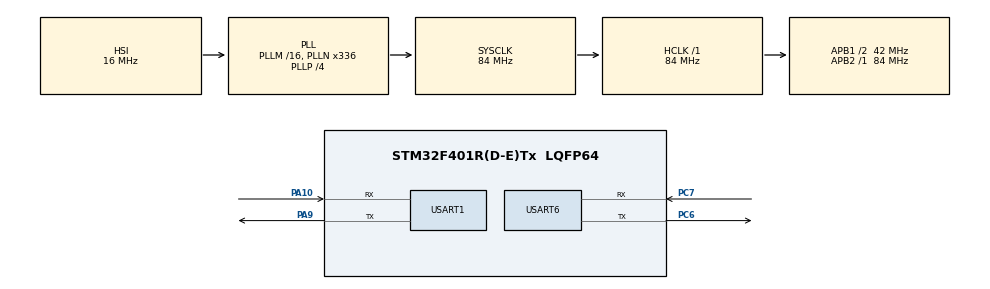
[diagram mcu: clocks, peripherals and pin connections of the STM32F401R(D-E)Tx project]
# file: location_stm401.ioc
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Mcu.Family=STM32F4
Mcu.Name=STM32F401R(D-E)Tx
Mcu.Package=LQFP64
NVIC.PriorityGroup=NVIC_PRIORITYGROUP_4
NVIC.USART1_IRQn=true\:0\:0\:false\:false\:true\:true\:true\:true
NVIC.USART6_IRQn=true\:0\:0\:false\:false\:true\:true\:true\:true
PA10.Mode=Asynchronous
PA10.Signal=USART1_RX
PA9.Mode=Asynchronous
PA9.Signal=USART1_TX
PC6.Mode=Asynchronous
PC6.Signal=USART6_TX
PC7.Mode=Asynchronous
PC7.Signal=USART6_RX
ProjectManager.HeapSize=0x200
ProjectManager.StackSize=0x400
ProjectManager.TargetToolchain=STM32CubeIDE
RCC.48MHZClocksFreq_Value=42000000
RCC.AHBFreq_Value=84000000
RCC.APB1CLKDivider=RCC_HCLK_DIV2
RCC.APB1Freq_Value=42000000
RCC.APB1TimFreq_Value=84000000
RCC.APB2Freq_Value=84000000
RCC.APB2TimFreq_Value=84000000
RCC.CortexFreq_Value=84000000
RCC.HCLKFreq_Value=84000000
RCC.HSE_VALUE=25000000
RCC.HSI_VALUE=16000000
RCC.LSE_VALUE=32768
RCC.PLLM=8
RCC.PLLN=84
RCC.SYSCLKFreq_VALUE=84000000
RCC.SYSCLKSource=RCC_SYSCLKSOURCE_PLLCLK
RCC.VCOOutputFreq_Value=168000000
USART1.VirtualMode=VM_ASYNC
USART6.VirtualMode=VM_ASYNC
board=custom

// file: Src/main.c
/* USER CODE BEGIN Header */
/**
  ******************************************************************************
  * @file           : main.c
  * @brief          : Fully Monitored Secure MQTTS Tracker to ThingsBoard
  * @platform       : STM32F401RET6U
  * @hardware       : USART1 (Quectel EC200U GNSS/LTE), USART6 (PC Terminal Monitor)
  ******************************************************************************
  */
/* USER CODE END Header */
#include "main.h"
#include <string.h>
#include <stdio.h>
#include <stdlib.h>

UART_HandleTypeDef huart1;
UART_HandleTypeDef huart6;

/* USER CODE BEGIN PV */
char cmd_buf[256];
char log_buf[128];
char telemetry_payload[128];
uint8_t response_buffer[512];

/* THINGSBOARD ENDPOINT SETUP */
#define THINGSBOARD_HOST    "mqtt.eu.thingsboard.cloud"
#define THINGSBOARD_PORT    "8883"
#define DEVICE_TOKEN        "KG6s8Oq6O9wcn6rAf19C"
/* USER CODE END PV */

void SystemClock_Config(void);
static void MX_GPIO_Init(void);
static void MX_USART1_UART_Init(void);
static void MX_USART6_UART_Init(void);
void Send_AT_Command(char* cmd, uint32_t timeout);
void Parse_And_Publish_Direct_GPS(char* raw_buffer);

int main(void)
{
  HAL_Init();
  SystemClock_Config();
  MX_GPIO_Init();
  MX_USART1_UART_Init();
  MX_USART6_UART_Init();

  /* USER CODE BEGIN 2 */
  HAL_Delay(3000); // Wait for module stabilization on bootup

  sprintf(log_buf, "\r\n==================================================\r\n");
  HAL_UART_Transmit(&huart6, (uint8_t*)log_buf, strlen(log_buf), 1000);
  sprintf(log_buf, "    DIRECT SECURE GPS TO THINGSBOARD TELEMETRY    \r\n");
  HAL_UART_Transmit(&huart6, (uint8_t*)log_buf, strlen(log_buf), 1000);
  sprintf(log_buf, "==================================================\r\n\r\n");
  HAL_UART_Transmit(&huart6, (uint8_t*)log_buf, strlen(log_buf), 1000);

  // ----------------------------------------------------
  // STEP 1: CONFIGURE SECURE SSL PROFILE FOR BROKER CONNECTIONS
  // ----------------------------------------------------

  Send_AT_Command("AT\r\n", 1000);
  Send_AT_Command("ATI\r\n", 1000);
  Send_AT_Command("ATE0\r\n", 1000);                      // Turn off hardware command echo
  Send_AT_Command("AT+QSSLCFG=\"seclevel\",0,0\r\n", 1000); // No client certificate validation needed
  Send_AT_Command("AT+QSSLCFG=\"sslversion\",0,4\r\n", 1000); // Set SSL version to TLS 1.2
  Send_AT_Command("AT+QMTCFG=\"ssl\",0,1,0\r\n", 1000);     // Enable SSL configuration for MQTT context 0
  HAL_Delay(500);

  // ----------------------------------------------------
  // STEP 2: ACTIVATE GNSS RECEIVER CORE
  // ----------------------------------------------------

  Send_AT_Command("AT+QGPS=0\r\n", 1000); // Flush outstanding sessions
  HAL_Delay(500);
  Send_AT_Command("AT+QGPS=1\r\n", 2000); // Start fresh location tracking
  HAL_Delay(1000);

  // ----------------------------------------------------
  // STEP 3: ESTABLISH CONNECTION WITH THINGSBOARD MQTT SECURE SOCKET
  // ----------------------------------------------------

  Send_AT_Command("AT+QMTCLOSE=0\r\n", 1000);
    HAL_Delay(500);

  sprintf(cmd_buf, "AT+QMTOPEN=0,\"%s\",%s\r\n", THINGSBOARD_HOST, THINGSBOARD_PORT);
  Send_AT_Command(cmd_buf, 6000);
  HAL_Delay(3000); // Wait briefly for async +QMTOPEN response to hit the buffer

  // ----------------------------------------------------
  // STEP 4: AUTHENTICATE WITH DEVICE ACCESS TOKEN
  // ----------------------------------------------------

  sprintf(cmd_buf, "AT+QMTCONN=0,\"STM32_Telematics\",\"%s\",\"\"\r\n", DEVICE_TOKEN);
  Send_AT_Command(cmd_buf, 6000);
  HAL_Delay(2000);

  /* USER CODE END 2 */

  /* Infinite loop */
  /* USER CODE BEGIN WHILE */
  while (1)
  {
    memset(response_buffer, 0, sizeof(response_buffer));

    // Echo outbound tracking request visibly to PuTTY
    sprintf(log_buf, "[TX -> Modem]: AT+QGPSLOC=2\r\n");
    HAL_UART_Transmit(&huart6, (uint8_t*)log_buf, strlen(log_buf), 1000);

    // Request location metrics using mode 0 (Decimal Degrees)
    HAL_UART_Transmit(&huart1, (uint8_t*)"AT+QGPSLOC=2\r\n", 14, 1000);

    // Receive response string back from module UART
    HAL_UART_Receive(&huart1, response_buffer, sizeof(response_buffer) - 1, 4000);

    // Display the exact raw data response from the modem to PuTTY
    sprintf(log_buf, "[RX <- Modem]:\r\n%s", (char*)response_buffer);
    HAL_UART_Transmit(&huart6, (uint8_t*)log_buf, strlen(log_buf), 1000);

    // If the module responds with Error 516, it means it doesn't have a satellite fix yet
    if (strstr((char*)response_buffer, "+CME ERROR: 516") != NULL)
    {
        sprintf(log_buf, ">> GNSS Status: Syncing with satellites (Waiting for Outdoor Fix...)\r\n\r\n");
        HAL_UART_Transmit(&huart6, (uint8_t*)log_buf, strlen(log_buf), 1000);
    }
    // Filter and extract when a valid location string containing coordinate markers arrives
    else if (strstr((char*)response_buffer, "+QGPSLOC:"))
    {
        Parse_And_Publish_Direct_GPS((char*)response_buffer);
    }

    /* USER CODE END WHILE */
    /* USER CODE BEGIN 3 */
    HAL_Delay(8000); // Upload coordinate telemetry packet once every 8 seconds
  }
  /* USER CODE END 3 */
}

/**
  * @brief Extract strings directly without modifications and push over secure MQTT pipeline
  */
void Parse_And_Publish_Direct_GPS(char* raw_buffer)
{
    char* token;
    char sub_tokens[12][24];
    int index = 0;

    // Isolate arguments past the leading token header colon
    char* data_start = strchr(raw_buffer, ':');
    if (!data_start) return;
    data_start++; // Skip past ':' character symbol

    char working_string[192];
    memset(working_string, 0, sizeof(working_string));
    strncpy(working_string, data_start, sizeof(working_string) - 1);

    // Split out arguments sequentially by target comma delimiter points
    token = strtok(working_string, ",");
    while (token != NULL && index < 12)
    {
        // Strip trailing/leading spaces or line return garbage from individual parameters
        sscanf(token, "%s", sub_tokens[index]);
        index++;
        token = strtok(NULL, ",");
    }

    // Validation: Mode 0 strings require at least 3 populated arrays (Time, Lat, Lon)
    if (index < 3) return;

    // Capture the decimal degree strings directly from token arrays
    char* latitude_str = sub_tokens[1];
    char* longitude_str = sub_tokens[2];

    // ----------------------------------------------------
    // DEDICATED SEPARATED COORDINATES MONITOR DISPLAY
    // ----------------------------------------------------
    char parse_out[128];
    sprintf(parse_out, "\r\n  ===============================\r\n");
    HAL_UART_Transmit(&huart6, (uint8_t*)parse_out, strlen(parse_out), 1000);
    sprintf(parse_out, "    PARSED LATITUDE  : %s\r\n", latitude_str);
    HAL_UART_Transmit(&huart6, (uint8_t*)parse_out, strlen(parse_out), 1000);
    sprintf(parse_out, "    PARSED LONGITUDE : %s\r\n", longitude_str);
    HAL_UART_Transmit(&huart6, (uint8_t*)parse_out, strlen(parse_out), 1000);
    sprintf(parse_out, "  ===============================\r\n\r\n");
    HAL_UART_Transmit(&huart6, (uint8_t*)parse_out, strlen(parse_out), 1000);

    // Construct telemetry payload securely using pure string embedding
    memset(telemetry_payload, 0, sizeof(telemetry_payload));
    sprintf(telemetry_payload, "{\"latitude\":%s,\"longitude\":%s}", latitude_str, longitude_str);

    int payload_len = strlen(telemetry_payload);

    // Construct the actual publishing command to show in tracking logs
    memset(cmd_buf, 0, sizeof(cmd_buf));
    sprintf(cmd_buf, "AT+QMTPUB=0,1,1,0,\"v1/devices/me/telemetry\",%d,\"%s\"\r\n", payload_len, telemetry_payload);

    // Echo publishing transmission execution directly to PuTTY monitor
    sprintf(log_buf, "[TX -> Modem]: %s", cmd_buf);
    HAL_UART_Transmit(&huart6, (uint8_t*)log_buf, strlen(log_buf), 1000);

    // Forward telemetry frame via automated AT publishing string onto secure cellular line
    HAL_UART_Transmit(&huart1, (uint8_t*)cmd_buf, strlen(cmd_buf), 1000);

    // Catch response from the publish request and output it
    memset(response_buffer, 0, sizeof(response_buffer));
    HAL_UART_Receive(&huart1, response_buffer, sizeof(response_buffer) - 1, 2000);
    sprintf(log_buf, "[RX <- Modem]:\r\n%s", (char*)response_buffer);
    HAL_UART_Transmit(&huart6, (uint8_t*)log_buf, strlen(log_buf), 1000);
}

void Send_AT_Command(char* cmd, uint32_t timeout) {
  char echo_buf[256];

  // Format outbound command mirror string explicitly
  sprintf(echo_buf, "[TX -> Modem]: %s", cmd);
  HAL_UART_Transmit(&huart6, (uint8_t*)echo_buf, strlen(echo_buf), 1000);

  // Forward command down the wire to the cellular module over USART1
  HAL_UART_Transmit(&huart1, (uint8_t*)cmd, strlen(cmd), 1000);

  memset(response_buffer, 0, sizeof(response_buffer));
  HAL_UART_Receive(&huart1, response_buffer, sizeof(response_buffer) - 1, timeout);

  // Format inbound response mirror string explicitly
  sprintf(echo_buf, "[RX <- Modem]:\r\n%s\r\n", (char*)response_buffer);
  HAL_UART_Transmit(&huart6, (uint8_t*)echo_buf, strlen(echo_buf), 1000);
}

/* STM32 Clock & Peripherals Low Level Controls */
void SystemClock_Config(void) {
  RCC_OscInitTypeDef RCC_OscInitStruct = {0};
  RCC_ClkInitTypeDef RCC_ClkInitStruct = {0};
  __HAL_RCC_PWR_CLK_ENABLE();
  __HAL_PWR_VOLTAGESCALING_CONFIG(PWR_REGULATOR_VOLTAGE_SCALE2);
  RCC_OscInitStruct.OscillatorType = RCC_OSCILLATORTYPE_HSI;
  RCC_OscInitStruct.HSIState = RCC_HSI_ON;
  RCC_OscInitStruct.HSICalibrationValue = RCC_HSICALIBRATION_DEFAULT;
  RCC_OscInitStruct.PLL.PLLState = RCC_PLL_ON;
  RCC_OscInitStruct.PLL.PLLSource = RCC_PLLSOURCE_HSI;
  RCC_OscInitStruct.PLL.PLLM = 16;
  RCC_OscInitStruct.PLL.PLLN = 336;
  RCC_OscInitStruct.PLL.PLLP = RCC_PLLP_DIV4;
  RCC_OscInitStruct.PLL.PLLQ = 7;
  HAL_RCC_OscConfig(&RCC_OscInitStruct);
  RCC_ClkInitStruct.ClockType = RCC_CLOCKTYPE_HCLK|RCC_CLOCKTYPE_SYSCLK|RCC_CLOCKTYPE_PCLK1|RCC_CLOCKTYPE_PCLK2;
  RCC_ClkInitStruct.SYSCLKSource = RCC_SYSCLKSOURCE_PLLCLK;
  RCC_ClkInitStruct.AHBCLKDivider = RCC_SYSCLK_DIV1;
  RCC_ClkInitStruct.APB1CLKDivider = RCC_HCLK_DIV2;
  RCC_ClkInitStruct.APB2CLKDivider = RCC_HCLK_DIV1;
  HAL_RCC_ClockConfig(&RCC_ClkInitStruct, FLASH_LATENCY_2);
}

static void MX_USART1_UART_Init(void) {
  huart1.Instance = USART1;
  huart1.Init.BaudRate = 115200;
  huart1.Init.WordLength = UART_WORDLENGTH_8B;
  huart1.Init.StopBits = UART_STOPBITS_1;
  huart1.Init.Parity = UART_PARITY_NONE;
  huart1.Init.Mode = UART_MODE_TX_RX;
  huart1.Init.HwFlowCtl = UART_HWCONTROL_NONE;
  huart1.Init.OverSampling = UART_OVERSAMPLING_16;
  HAL_UART_Init(&huart1);
}

static void MX_USART6_UART_Init(void) {
  huart6.Instance = USART6;
  huart6.Init.BaudRate = 115200;
  huart6.Init.WordLength = UART_WORDLENGTH_8B;
  huart6.Init.StopBits = UART_STOPBITS_1;
  huart6.Init.Parity = UART_PARITY_NONE;
  huart6.Init.Mode = UART_MODE_TX_RX;
  huart6.Init.HwFlowCtl = UART_HWCONTROL_NONE;
  huart6.Init.OverSampling = UART_OVERSAMPLING_16;
  HAL_UART_Init(&huart6);
}

static void MX_GPIO_Init(void) {
  __HAL_RCC_GPIOH_CLK_ENABLE();
  __HAL_RCC_GPIOA_CLK_ENABLE();
  __HAL_RCC_GPIOC_CLK_ENABLE();
}

void Error_Handler(void) {
  __disable_irq();
  while (1) {}
}
